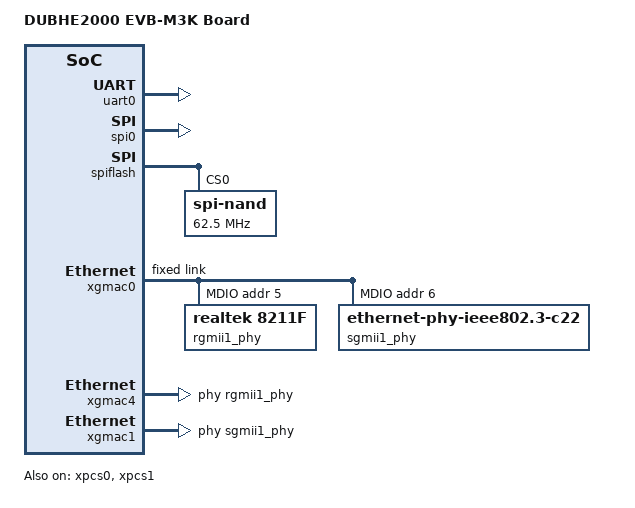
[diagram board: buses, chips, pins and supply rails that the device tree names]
/*
 *  Copyright (c) 2021-2024, Clourney Semiconductor. All rights reserved.
 *
 *  This software and/or documentation is licensed by Clourney Semiconductor under limited terms and conditions.
 *  Reproduction and redistribution in binary or source form, with or without modification,
 *  for use solely in conjunction with a Clourney Semiconductor chipset, is permitted in condition which
 *  must retain the above copyright notice.
 *
 *  By using this software and/or documentation, you agree to the limited terms and conditions.
 *
 *  Device Tree Include file for Clourney Semiconductor SoC.
 *
 */

/dts-v1/;
/include/ "clourneysemi-dubhe2000.dtsi"

/ {
	model = "DUBHE2000 EVB-M3K Board";
	compatible = "clourneysemi,dubhe2000_evb_m3k";
	#size-cells = <0x2>;
	#address-cells = <0x2>;

	chosen {
		stdout-path = &uart0;
	};
};

&uart0 {
        status = "okay";
};

&spi0 {
	busclk = <250000000>;
	spi-max-frequency = <5000000>;
	status = "okay";
};

&spiflash {
	busclk = <250000000>;
	spi-max-frequency = <62500000>;
	rx-sample-delay-ns = <8>;
	status = "okay";
	spi-nand@0 {
		compatible = "spi-nand";
		reg = <0>;
		spi-max-frequency = <62500000>;
		status = "okay";
	};
};

&sdmmc {
	max-frequency = <125000000>;
	bus-width = <8>;
	non-removable;
	cap-mmc-highspeed;
	mmc-hs200-1_8v;
	status = "disabled";
};

&xpcs0 {
        phy-mode = "sgmii-2500";
        status = "okay";
};

&xpcs1 {
        phy-mode = "sgmii";
        status = "okay";
};

&xgmac0 {
        mode = "non-rgmii";
        max-speed = <2500>;
        mac-address = [a0 c0 ab 39 cc f0];
        status = "okay";
        fixed-link {
                speed = <2500>;
                full-duplex;
                pause;
        };
        mdio0 {
                compatible = "clourney,mdio";
                #address-cells = <1>;
                #size-cells = <0>;
                device_type = "mdio";
                clk_csr = <1>;
                status = "okay";
                rgmii1_phy: ethernet-phy@5 {
                        compatible = "realtek,8211f","ethernet-phy-ieee802.3-c22";
                        reg = <0x5>;
                        mdio-flags = <1>;
                };
                sgmii1_phy: ethernet-phy@6 {
                        compatible = "ethernet-phy-ieee802.3-c22";
                        reg = <0x6>;
                        mdio-flags = <1>;
                };
        };
};

&xgmac4 {
        mode = "rgmii";
        max-speed = <1000>;
        mac-address = [a0 c0 ab 39 cc f2];
        rgmii-rx-delay;
        phy-handle = <&rgmii1_phy>;
        rgmii-rx-delay = <1>;
        status = "okay";
};

&xgmac1 {
        mode = "non-rgmii";
        max-speed = <2500>;
        mac-address = [a0 c0 ab 39 cc f3];
        phy-handle = <&sgmii1_phy>;
        status = "okay";
};

&xgmac2 {
        status = "disabled";
};

&xgmac3 {
        status = "disabled";
};

